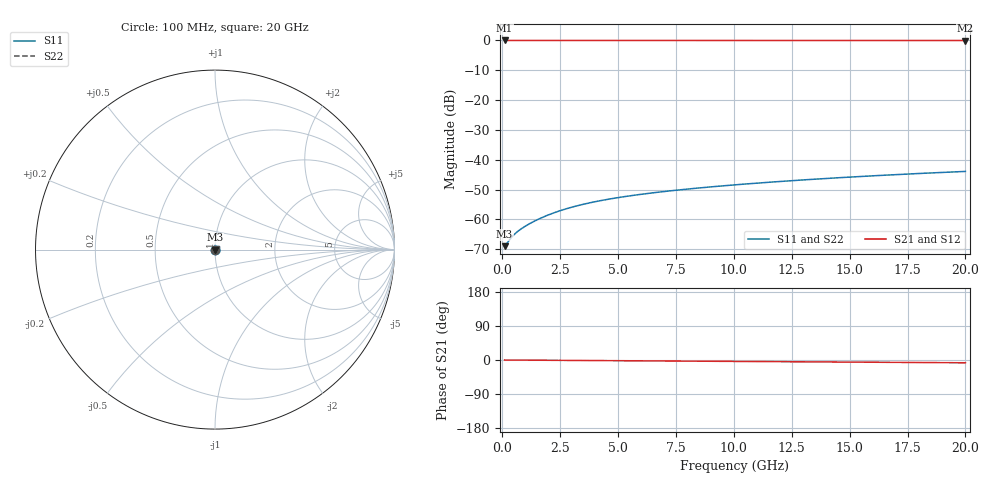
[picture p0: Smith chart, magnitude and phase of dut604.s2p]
! Touchstone file exported from HFSS 2026.1.0
!  File:  C:/ffzhzh/LocalFiles/Ansys_Project_Files/temp_train_TSV_604_1783025520_4048.aedt
!  Generated:  04:53:45 AM Jul  3, 2026
!  Design:  TSV
!  Project:  temp_train_TSV_604_1783025520_4048
! Variables:
!  h_bsmrdl = 2um
!  h_ox = 20um
!  h_rdl = 5um
!  h_sub = 77.8um
!  h_tmrdl = 5um
!  h_tsv = 77.8um
!  h_via = 3um
!  l_bsmrdl = 300um
!  l_sub = 410.76um
!  l_tmrdl = 200um
!  m_sub = 200um
!  pitch = 23.39um
!  r_tsv = 5.38um
!  s_tmrdl = 10um
!  w_bsmrdl = 18um
!  w_sub = 500um
!  w_tmrdl = 12um
!  x_tsv_center1 = 206um
!  x_tsv_center2 = 524um
!  x_tsv_center3 = 736um
!  x_tsv_center4 = 1054um
!  x_tsv_center5 = 1266um
!  x_tsv_center6 = 1584um
# GHz S MA R 50.000000
! Terminal data exported
! Port[1] = TSV1_1_T1
! Port[2] = TSV1_1_T2
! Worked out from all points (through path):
!   200 points, 100 MHz to 20 GHz, reference 50 ohm
!   highest |S21| = 0.00 dB at 100 MHz (marker M1); lowest = 0.0 dB at 20 GHz (marker M2)
!   group delay of S21, straight-line fit = 1.02 ps
!   lowest |S11| = -69.0 dB at 100 MHz (marker M3), VSWR 1.00, Z = 50 + j0.00825 ohm
!   |S11| at or under -10 dB: start of sweep to end of sweep
!   |S22| runs from -69.0 to -43.9 dB; largest |S21 - S12| = 3.3e-15
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0.1  0.0003559 13.4  0.9997 -0.0  0.9997 -0.0  0.0003559 13.4
! Gamma 0 0 0 0
! Port Impedance 50 0 50 0
0.2  0.0003965 23.6  0.9996 -0.1  0.9996 -0.1  0.0003965 23.6
0.4  0.0005007 34.9  0.9996 -0.2  0.9996 -0.2  0.0005007 34.9
0.5  0.0005513 38.1  0.9996 -0.2  0.9996 -0.2  0.0005513 38.1
0.6  0.0005989 40.6  0.9995 -0.2  0.9995 -0.2  0.0005989 40.6
0.7  0.0006442 42.6  0.9995 -0.3  0.9995 -0.3  0.0006442 42.6
0.9  0.0007305 46.1  0.9995 -0.3  0.9995 -0.3  0.0007305 46.1
1.3  0.0008983 51.2  0.9994 -0.5  0.9994 -0.5  0.0008983 51.2
1.8  0.001109 55.3  0.9994 -0.7  0.9994 -0.7  0.001109 55.3
2.3  0.001319 57.8  0.9993 -0.9  0.9993 -0.9  0.001319 57.8
2.9  0.001563 59.4  0.9992 -1.1  0.9992 -1.1  0.001563 59.4
3.5  0.001794 60.3  0.9991 -1.3  0.9991 -1.3  0.001794 60.3
4.2  0.002049 60.9  0.999 -1.6  0.999 -1.6  0.002049 60.9
4.9  0.002287 61.2  0.999 -1.8  0.999 -1.8  0.002287 61.2
5.8  0.002576 61.6  0.9989 -2.2  0.9989 -2.2  0.002576 61.6
6.8  0.002879 61.9  0.9988 -2.5  0.9988 -2.5  0.002879 61.9
8.3  0.003311 62.4  0.9986 -3.1  0.9986 -3.1  0.003311 62.4
10.1  0.003812 62.9  0.9985 -3.7  0.9985 -3.7  0.003812 62.9
11.7  0.004246 63.3  0.9984 -4.3  0.9984 -4.3  0.004246 63.3
13.4  0.0047 63.5  0.9983 -4.9  0.9983 -4.9  0.0047 63.5
16.7  0.005558 63.5  0.9981 -6.1  0.9981 -6.1  0.005558 63.5
20  0.006377 63.1  0.9978 -7.3  0.9978 -7.3  0.006377 63.1
